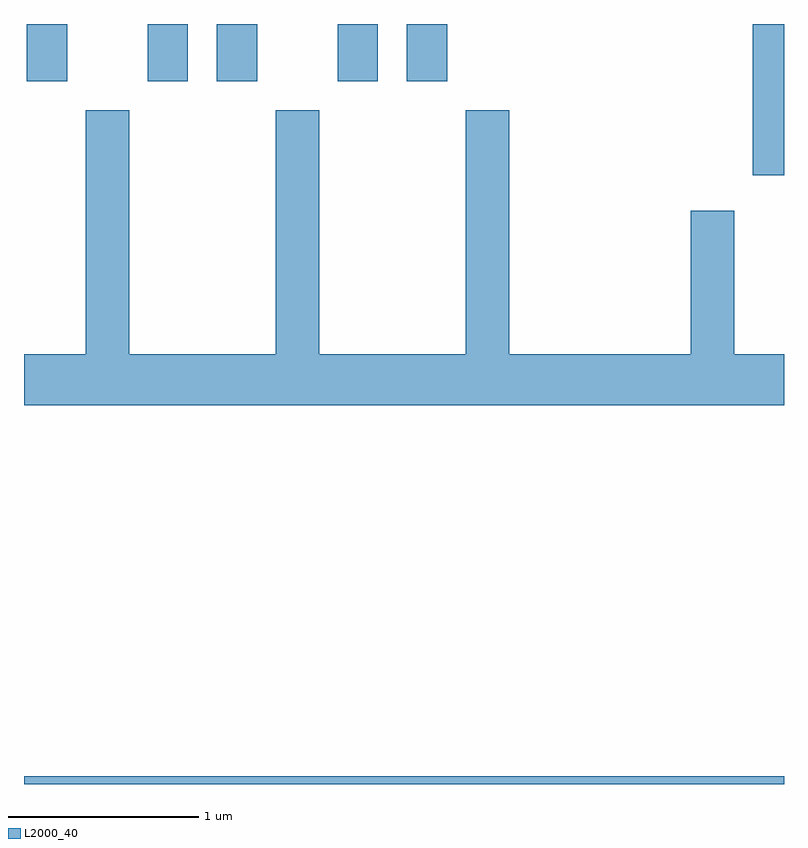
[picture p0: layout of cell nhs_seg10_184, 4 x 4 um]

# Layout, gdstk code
import gdstk
lib = gdstk.Library(unit=1e-6, precision=1e-09)
def R(c, l, rs):  # rectangles x0, y0, x1, y1
    for r in rs: c.add(gdstk.rectangle(r[:2], r[2:], *l))
def P(c, l, *ps):  # polygons
    for p in ps: c.add(gdstk.Polygon(p, *l))
L2000_40 = (2000, 40)

nhs_seg10_184 = lib.new_cell('nhs_seg10_184')
R(nhs_seg10_184, L2000_40, [(189.611,2178.522,193.611,2178.564), (193.446,2181.726,193.611,2182.522), (189.626,2182.221,189.839,2182.522), (190.261,2182.221,190.474,2182.522), (190.626,2182.221,190.839,2182.522), (191.261,2182.221,191.474,2182.522), (191.626,2182.221,191.839,2182.522)])
P(nhs_seg10_184, L2000_40, [(193.611,2180.784),(193.349,2180.784),(193.349,2181.539),(193.121,2181.539),(193.121,2180.784),(192.164,2180.784),(192.164,2182.069),(191.936,2182.069),(191.936,2180.784),(191.164,2180.784),(191.164,2182.069),(190.936,2182.069),(190.936,2180.784),(190.164,2180.784),(190.164,2182.069),(189.936,2182.069),(189.936,2180.784),(189.611,2180.784),(189.611,2180.516),(193.611,2180.516)])

lib.write_gds('nhs_seg10_184.gds')
